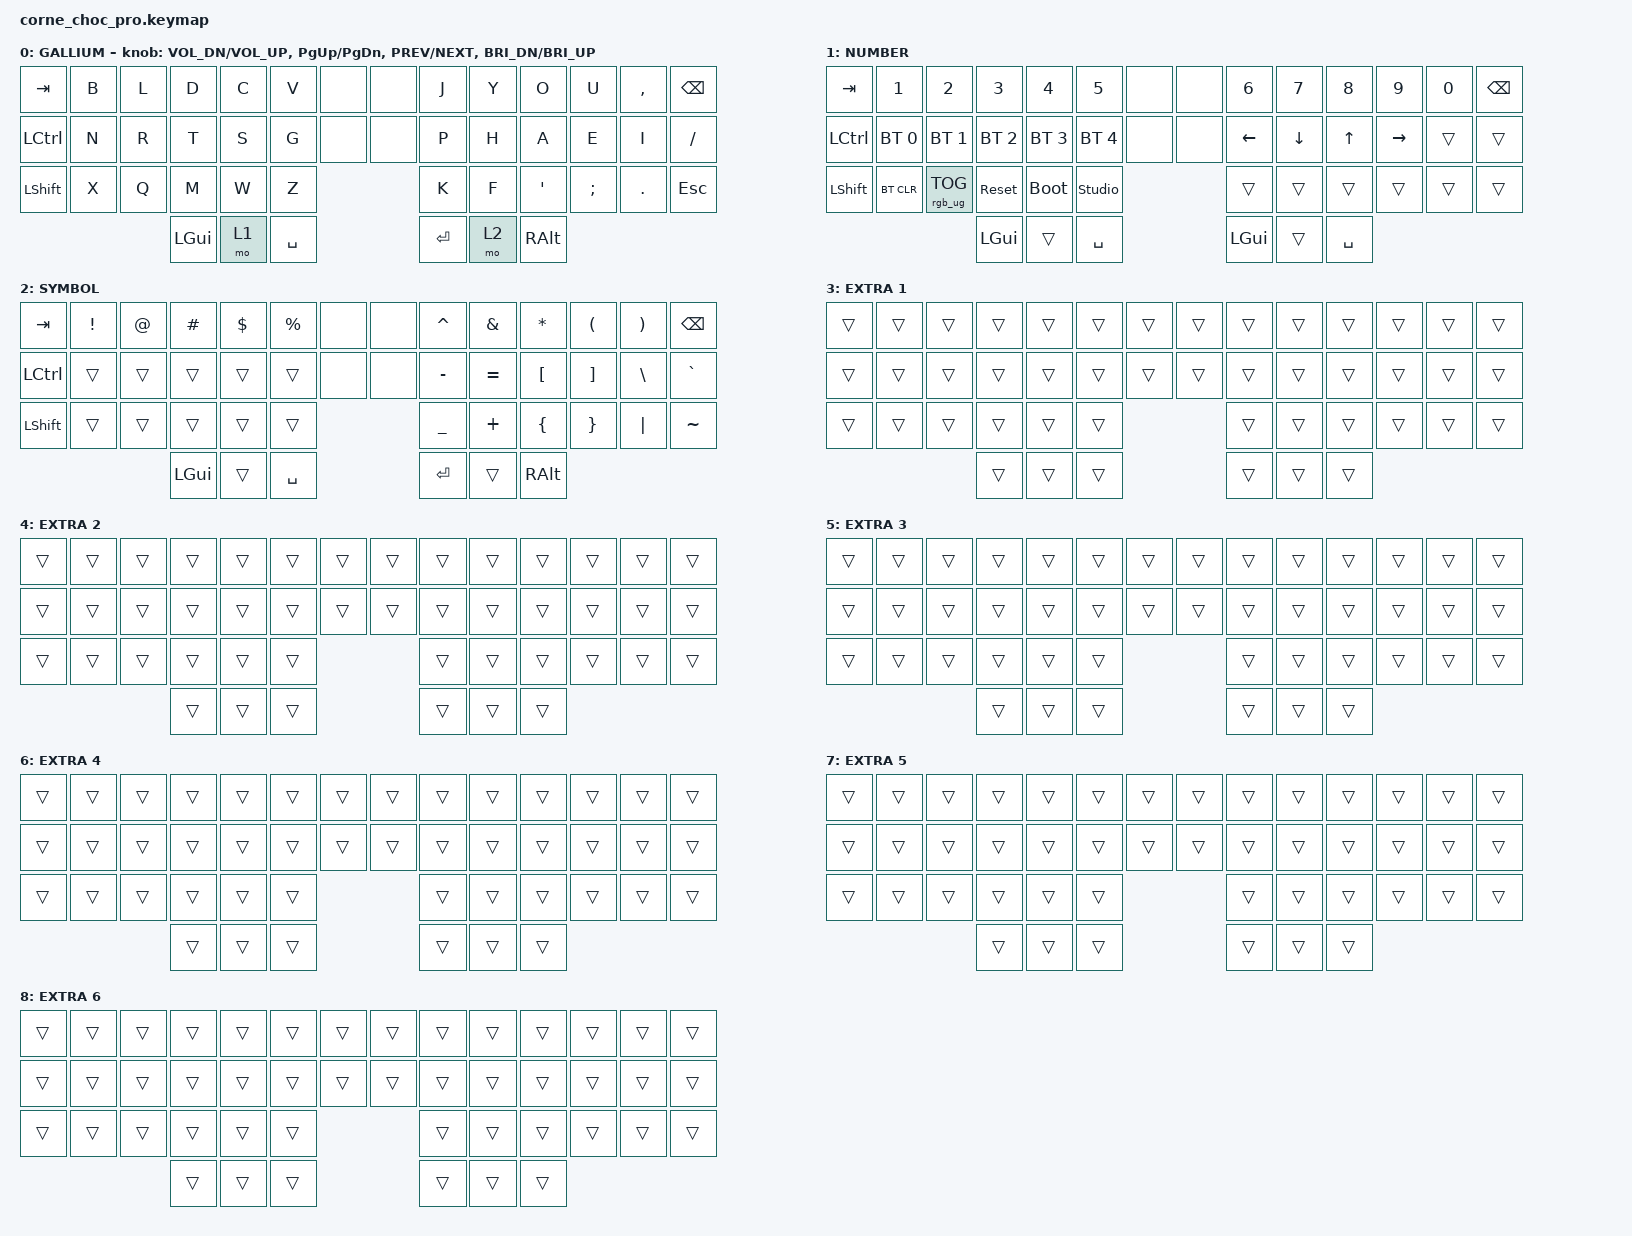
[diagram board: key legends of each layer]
/*
 * Copyright (c) 2020 The ZMK Contributors
 *
 * SPDX-License-Identifier: MIT
 */

#include <behaviors.dtsi>
#include <dt-bindings/zmk/bt.h>
#include <dt-bindings/zmk/keys.h>
#include <dt-bindings/zmk/rgb.h>

/ {
    chosen { zmk,physical-layout = &default_layout; };
};

/ {
    keymap {
        compatible = "zmk,keymap";

        default_layer {
            display-name = "GALLIUM";

            // --------------------------------------------------------------------------------
            // |  TAB |  Q  |  W  |  E  |  R  |  T  |  MUTE |  PP   |  Y  |  U   |  I  |  O  |  P  | BSPC |
            // | CTRL |  A  |  S  |  D  |  F  |  G  |  LALT |  RALT |  H  |  J   |  K  |  L  |  ;  |  '   |
            // | SHFT |  Z  |  X  |  C  |  V  |  B  |               |  N  |  M   |  ,  |  .  |  /  | ESC  |
            //                    | GUI | LWR | SPC |               | ENT | RSE  | ALT |

            bindings = <
&kp TAB    &kp B  &kp L  &kp D     &kp C  &kp V      &none  &none  &kp J    &kp Y  &kp O     &kp U          &kp COMMA   &kp BSPC
&kp LCTRL  &kp N  &kp R  &kp T     &kp S  &kp G      &none  &none  &kp P    &kp H  &kp A     &kp E          &kp I       &kp SLASH
&kp LSHFT  &kp X  &kp Q  &kp M     &kp W  &kp Z                    &kp K    &kp F  &kp SQT   &kp SEMICOLON  &kp PERIOD  &kp ESC
                         &kp LGUI  &mo 1  &kp SPACE                &kp RET  &mo 2  &kp RALT
            >;

            sensor-bindings = <&inc_dec_kp C_VOL_DN C_VOL_UP &inc_dec_kp PG_UP PG_DN &inc_dec_kp C_PREV C_NEXT &inc_dec_kp C_BRI_DN C_BRI_UP>;
        };

        lower_layer {
            display-name = "NUMBER";

            // -----------------------------------------------------------------------------------------
            // |  TAB |  1  |  2  |  3  |  4  |  5    |  LCTRL | RCTRL |  6  |  7  |  8  |  9  |  0  | BSPC |
            // | CTRL | BT1 | BT2 | BT3 | BT4 | BT5   |  LALT  | RALT  | LFT | DWN |  UP | RGT |     |      |
            // | SHFT | BTCR| RGB | RST | BOOT| Unlock|        |       |     |     |     |     |     |      |
            //                    | GUI |     | SPC   |        | ENT   |     | ALT |

            bindings = <
&kp TAB    &kp N1        &kp N2           &kp N3        &kp N4        &kp N5          &none  &none  &kp N6    &kp N7    &kp N8     &kp N9     &kp N0  &kp BSPC
&kp LCTRL  &bt BT_SEL 0  &bt BT_SEL 1     &bt BT_SEL 2  &bt BT_SEL 3  &bt BT_SEL 4    &none  &none  &kp LEFT  &kp DOWN  &kp UP     &kp RIGHT  &trans  &trans
&kp LSHFT  &bt BT_CLR    &rgb_ug RGB_TOG  &sys_reset    &bootloader   &studio_unlock                &trans    &trans    &trans     &trans     &trans  &trans
                                          &kp LGUI      &trans        &kp SPACE                     &kp LGUI  &trans    &kp SPACE
            >;
        };

        raise_layer {
            display-name = "SYMBOL";

            // -----------------------------------------------------------------------------------------
            // |  TAB |  !  |  @  |  #  |  $  |  %  | LCTRL | RCTRL |  ^  |  &  |  *  |  (  |  )  | BSPC |
            // | CTRL |     |     |     |     |     |  LALT | RALT  |  -  |  =  |  [  |  ]  |  \  |  `   |
            // | SHFT |     |     |     |     |     |               |  _  |  +  |  {  |  }  | "|" |  ~   |
            //                    | GUI |     | SPC |               | ENT |     | ALT |

            bindings = <
&kp TAB    &kp EXCL  &kp AT  &kp HASH  &kp DLLR  &kp PRCNT  &none  &none  &kp CARET  &kp AMPS   &kp ASTRK  &kp LPAR  &kp RPAR  &kp BSPC
&kp LCTRL  &trans    &trans  &trans    &trans    &trans     &none  &none  &kp MINUS  &kp EQUAL  &kp LBKT   &kp RBKT  &kp BSLH  &kp GRAVE
&kp LSHFT  &trans    &trans  &trans    &trans    &trans                   &kp UNDER  &kp PLUS   &kp LBRC   &kp RBRC  &kp PIPE  &kp TILDE
                             &kp LGUI  &trans    &kp SPACE                &kp RET    &trans     &kp RALT
            >;
        };

        extra_layer_1 {
            display-name = "EXTRA 1";
            bindings = <
&trans  &trans  &trans  &trans  &trans  &trans  &trans  &trans  &trans  &trans  &trans  &trans  &trans  &trans
&trans  &trans  &trans  &trans  &trans  &trans  &trans  &trans  &trans  &trans  &trans  &trans  &trans  &trans
&trans  &trans  &trans  &trans  &trans  &trans                  &trans  &trans  &trans  &trans  &trans  &trans
                        &trans  &trans  &trans                  &trans  &trans  &trans
            >;
        };

        extra_layer_2 {
            display-name = "EXTRA 2";
            bindings = <
&trans  &trans  &trans  &trans  &trans  &trans  &trans  &trans  &trans  &trans  &trans  &trans  &trans  &trans
&trans  &trans  &trans  &trans  &trans  &trans  &trans  &trans  &trans  &trans  &trans  &trans  &trans  &trans
&trans  &trans  &trans  &trans  &trans  &trans                  &trans  &trans  &trans  &trans  &trans  &trans
                        &trans  &trans  &trans                  &trans  &trans  &trans
            >;
        };

        extra_layer_3 {
            display-name = "EXTRA 3";
            bindings = <
&trans  &trans  &trans  &trans  &trans  &trans  &trans  &trans  &trans  &trans  &trans  &trans  &trans  &trans
&trans  &trans  &trans  &trans  &trans  &trans  &trans  &trans  &trans  &trans  &trans  &trans  &trans  &trans
&trans  &trans  &trans  &trans  &trans  &trans                  &trans  &trans  &trans  &trans  &trans  &trans
                        &trans  &trans  &trans                  &trans  &trans  &trans
            >;
        };

        extra_layer_4 {
            display-name = "EXTRA 4";
            bindings = <
&trans  &trans  &trans  &trans  &trans  &trans  &trans  &trans  &trans  &trans  &trans  &trans  &trans  &trans
&trans  &trans  &trans  &trans  &trans  &trans  &trans  &trans  &trans  &trans  &trans  &trans  &trans  &trans
&trans  &trans  &trans  &trans  &trans  &trans                  &trans  &trans  &trans  &trans  &trans  &trans
                        &trans  &trans  &trans                  &trans  &trans  &trans
            >;
        };

        extra_layer_5 {
            display-name = "EXTRA 5";
            bindings = <
&trans  &trans  &trans  &trans  &trans  &trans  &trans  &trans  &trans  &trans  &trans  &trans  &trans  &trans
&trans  &trans  &trans  &trans  &trans  &trans  &trans  &trans  &trans  &trans  &trans  &trans  &trans  &trans
&trans  &trans  &trans  &trans  &trans  &trans                  &trans  &trans  &trans  &trans  &trans  &trans
                        &trans  &trans  &trans                  &trans  &trans  &trans
            >;
        };

        extra_layer_6 {
            display-name = "EXTRA 6";
            bindings = <
&trans  &trans  &trans  &trans  &trans  &trans  &trans  &trans  &trans  &trans  &trans  &trans  &trans  &trans
&trans  &trans  &trans  &trans  &trans  &trans  &trans  &trans  &trans  &trans  &trans  &trans  &trans  &trans
&trans  &trans  &trans  &trans  &trans  &trans                  &trans  &trans  &trans  &trans  &trans  &trans
                        &trans  &trans  &trans                  &trans  &trans  &trans
            >;
        };
    };
};
